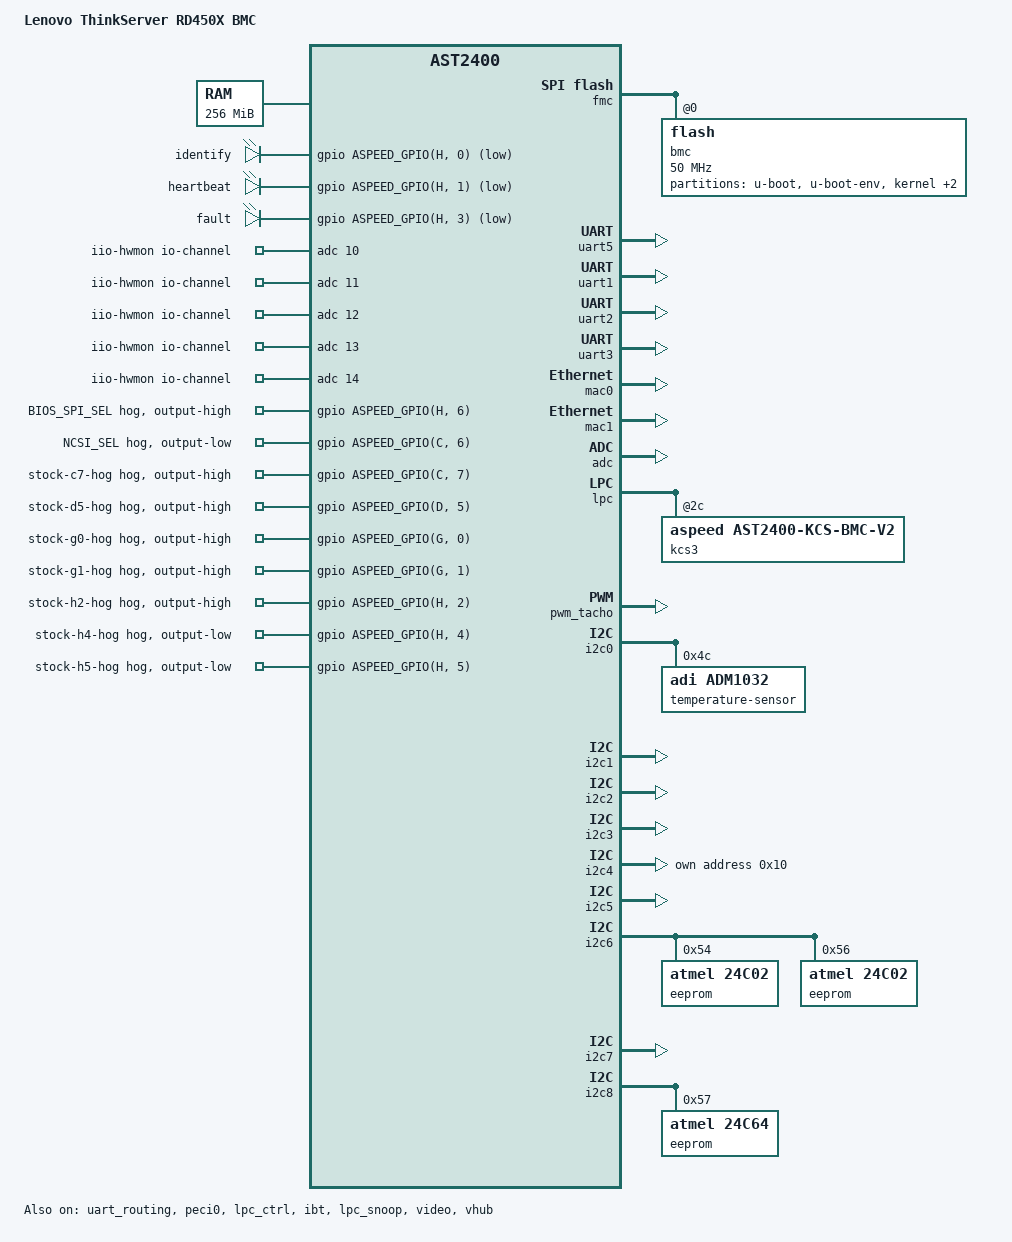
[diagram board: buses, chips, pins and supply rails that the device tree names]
// SPDX-License-Identifier: GPL-2.0+
/*
 * Lenovo ThinkServer RD450X BMC (ASPEED AST2400)
 *
 * Reverse engineered from the board's stock AMI MegaRAC firmware 3.24.4421
 * (libipmipdk / libipmipar, variant "ast2400evb_ami") and from the live
 * GPIO, PWM and ADC state of a running board. See recon/hardware-map.md.
 *
 * Items marked UNVERIFIED are assumptions still to be checked on hardware.
 */
/dts-v1/;

#include "aspeed-g4.dtsi"
#include <dt-bindings/gpio/aspeed-gpio.h>
#include <dt-bindings/i2c/i2c.h>

/ {
	model = "Lenovo ThinkServer RD450X BMC";
	compatible = "lenovo,rd450x-bmc", "aspeed,ast2400";

	aliases {
		serial2 = &uart3;
		serial4 = &uart5;
	};

	chosen {
		stdout-path = &uart5;
		bootargs = "console=ttyS4,115200 earlycon";
	};

	memory@40000000 {
		/* UNVERIFIED: 256 MB assumed; the stock kernel used mem=210M */
		reg = <0x40000000 0x10000000>;
	};

	reserved-memory {
		#address-cells = <1>;
		#size-cells = <1>;
		ranges;

		/*
		 * Capture buffers of the video engine (remote KVM). The host VGA
		 * memory (16 MB at the top of the 256 MB DRAM) is already left out
		 * by U-Boot, which reports 240 MB.
		 */
		video_engine_memory: jpegbuffer {
			size = <0x02000000>;	/* 32M */
			alignment = <0x01000000>;
			compatible = "shared-dma-pool";
			reusable;
		};
	};

	leds {
		compatible = "gpio-leds";

		identify {
			gpios = <&gpio ASPEED_GPIO(H, 0) GPIO_ACTIVE_LOW>;
		};

		/* Stock firmware blinks this one as a status/heartbeat LED */
		heartbeat {
			gpios = <&gpio ASPEED_GPIO(H, 1) GPIO_ACTIVE_LOW>;
		};

		fault {
			gpios = <&gpio ASPEED_GPIO(H, 3) GPIO_ACTIVE_LOW>;
		};
	};

	/* 3.3V standby, 5V aux, 3.3V, 5V, 12V (through resistor dividers) */
	/*
	 * hwmon numbers the inputs in1..in5 in the order listed here, and the
	 * entity-manager ADC "Index" values (0..4) follow that order, not the
	 * ADC channel numbers.
	 */
	iio-hwmon {
		compatible = "iio-hwmon";
		io-channels = <&adc 10>, <&adc 11>, <&adc 12>, <&adc 13>,
			      <&adc 14>;
	};
};

&fmc {
	status = "okay";

	flash@0 {
		status = "okay";
		m25p,fast-read;
		label = "bmc";
		spi-max-frequency = <50000000>;

		/*
		 * Like openbmc-flash-layout.dtsi, but with a larger kernel and
		 * read-only filesystem at the expense of the writable one: the
		 * stock 32 MB layout has no room for remote KVM. Must match
		 * FLASH_ROFS_OFFSET / FLASH_RWFS_OFFSET in the machine config.
		 */
		partitions {
			compatible = "fixed-partitions";
			#address-cells = <1>;
			#size-cells = <1>;

			u-boot@0 {
				reg = <0x0 0x60000>;
				label = "u-boot";
			};

			u-boot-env@60000 {
				reg = <0x60000 0x20000>;
				label = "u-boot-env";
			};

			kernel@80000 {
				reg = <0x80000 0x480000>;
				label = "kernel";
			};

			rofs@500000 {
				reg = <0x500000 0x1900000>;
				label = "rofs";
			};

			rwfs@1e00000 {
				reg = <0x1e00000 0x200000>;
				label = "rwfs";
			};
		};
	};
};

/* BMC debug console (stock: ttyS4 @ 38400) */
&uart5 {
	status = "okay";
};

/*
 * Host serial / SOL: the host owns UART1 over LPC, and the stock firmware
 * cross-connects UART1 and UART3 through the LPC UART routing register.
 */
/*
 * UART1 and UART2 are the host's COM1/COM2 (0x3f8/0x2f8 over LPC). The BMC
 * does not use them itself, but their clocks are gated unless the nodes are
 * enabled, and then the host's ports find a 16550 that never shifts a byte
 * out (seen on the board: host tx counter frozen, nothing reaches UART3).
 */
&uart1 {
	status = "okay";
};

&uart2 {
	status = "okay";
};

&uart3 {
	status = "okay";
};

&uart_routing {
	status = "okay";
};

/* Shared with the host's Intel NIC over NC-SI */
&mac0 {
	status = "okay";
	use-ncsi;
	pinctrl-names = "default";
	pinctrl-0 = <&pinctrl_rmii1_default>;
};

/* Dedicated management port with its own PHY. UNVERIFIED: RGMII assumed */
&mac1 {
	status = "okay";
	pinctrl-names = "default";
	pinctrl-0 = <&pinctrl_rgmii2_default &pinctrl_mdio2_default>;
};

&adc {
	status = "okay";
	pinctrl-names = "default";
	pinctrl-0 = <&pinctrl_adc10_default
		     &pinctrl_adc11_default
		     &pinctrl_adc12_default
		     &pinctrl_adc13_default
		     &pinctrl_adc14_default>;
};

/* UNVERIFIED: the stock firmware reads CPU temperatures through the ME */
&peci0 {
	status = "okay";
};

&lpc_ctrl {
	status = "okay";
};

/*
 * The stock firmware exposes KCS and BT to the host. aspeed-g4.dtsi has no
 * KCS nodes, so KCS3 is described here (same LPC registers as the AST2500).
 * The stock driver puts KCS3 at 0xca2/0xca3 and BT at 0xe4.
 */
&lpc {
	kcs3: kcs@2c {
		compatible = "aspeed,ast2400-kcs-bmc-v2";
		reg = <0x2c 0x1>, <0x38 0x1>, <0x44 0x1>;
		interrupts = <8>;
		clocks = <&syscon ASPEED_CLK_GATE_LCLK>;
		aspeed,lpc-io-reg = <0xca2>;
	};
};

&ibt {
	status = "okay";
};

&lpc_snoop {
	status = "okay";
	snoop-ports = <0x80>;
};

/*
 * Each fan has its own PWM output, numbered like its tach input.
 * PWM2/tach2 are not used on this board.
 */
/* Remote KVM: video capture of the host VGA output */
&video {
	status = "okay";
	memory-region = <&video_engine_memory>;
};

/* Remote KVM: virtual USB hub towards the host (keyboard, mouse, media) */
&vhub {
	status = "okay";
};

&pwm_tacho {
	status = "okay";
	pinctrl-names = "default";
	pinctrl-0 = <&pinctrl_pwm0_default
		     &pinctrl_pwm1_default
		     &pinctrl_pwm3_default
		     &pinctrl_pwm4_default
		     &pinctrl_pwm5_default
		     &pinctrl_pwm6_default>;

	/* CPU0_FAN */
	fan@0 {
		reg = <0x00>;
		aspeed,fan-tach-ch = /bits/ 8 <0x00>;
	};

	/* CPU1_FAN */
	fan@1 {
		reg = <0x01>;
		aspeed,fan-tach-ch = /bits/ 8 <0x01>;
	};

	/* SYS_FAN1 */
	fan@3 {
		reg = <0x03>;
		aspeed,fan-tach-ch = /bits/ 8 <0x03>;
	};

	/* SYS_FAN2 */
	fan@4 {
		reg = <0x04>;
		aspeed,fan-tach-ch = /bits/ 8 <0x04>;
	};

	/* SYS_FAN3 */
	fan@5 {
		reg = <0x05>;
		aspeed,fan-tach-ch = /bits/ 8 <0x05>;
	};

	/* SYS_FAN4 */
	fan@6 {
		reg = <0x06>;
		aspeed,fan-tach-ch = /bits/ 8 <0x06>;
	};
};

&gpio {
	/*
	 * Front-panel reset (D0 -> D1) and power (D2 -> D3) buttons: the stock
	 * firmware uses the SoC's hardware pass-through, but with the mainline
	 * pinctrl driver a pin claimed for pass-through cannot also be requested
	 * as a GPIO, and the BMC has to read the buttons and drive the outputs.
	 * So the pins are plain GPIOs and x86-power-control forwards the buttons
	 * in software (button-passthrough option).
	 */
	gpio-line-names =
	/*A0-A7*/	"", "", "", "ID_BUTTON_N", "", "", "", "",
	/*B0-B7*/	"", "", "FAN_EVENT_N", "", "", "", "", "",
	/*C0-C7*/	"", "", "", "", "", "", "NCSI_SEL", "",
	/*D0-D7*/	"RESET_BUTTON_N", "RESET_OUT_N", "POWER_BUTTON_N",
			"POWER_OUT_N", "", "", "", "",
	/*E0-E7*/	"", "", "", "", "", "", "", "",
	/*F0-F7*/	"", "", "", "", "", "PS_PWROK", "", "",
	/*G0-G7*/	"", "", "", "", "CPU_ERR2_N", "CPU_CATERR_N", "",
			"NCSI_CARD_DET",
	/*H0-H7*/	"", "", "", "", "", "", "BIOS_SPI_SEL", "",
	/*I0-I7*/	"", "", "", "", "", "", "", "",
	/*J0-J7*/	"", "", "", "", "", "", "", "",
	/*K0-K7*/	"", "", "", "", "", "", "", "",
	/*L0-L7*/	"", "", "", "", "", "", "", "",
	/*M0-M7*/	"", "", "", "", "", "", "", "",
	/*N0-N7*/	"", "", "", "", "", "", "", "",
	/*O0-O7*/	"", "", "", "", "", "", "", "",
	/*P0-P7*/	"", "", "CPU0_PROCHOT_N", "", "", "CPU1_PROCHOT_N", "",
			"MEM_EVENT_N",
	/*Q0-Q7*/	"", "", "", "", "", "", "PSU1_PRSNT_N", "PSU2_PRSNT_N";

	/* High = host owns its BIOS flash. Never leave this low. */
	bios-spi-sel-hog {
		gpio-hog;
		gpios = <ASPEED_GPIO(H, 6) GPIO_ACTIVE_HIGH>;
		output-high;
		line-name = "BIOS_SPI_SEL";
	};

	/* Keeps the NC-SI path on the onboard NIC, as found on the live board */
	ncsi-sel-hog {
		gpio-hog;
		gpios = <ASPEED_GPIO(C, 6) GPIO_ACTIVE_HIGH>;
		output-low;
		line-name = "NCSI_SEL";
	};

	/*
	 * Outputs of unknown purpose that the stock firmware drives at init.
	 * They are held at the levels read from the running stock firmware.
	 */
	stock-c7-hog {
		gpio-hog;
		gpios = <ASPEED_GPIO(C, 7) GPIO_ACTIVE_HIGH>;
		output-high;
	};

	stock-d5-hog {
		gpio-hog;
		gpios = <ASPEED_GPIO(D, 5) GPIO_ACTIVE_HIGH>;
		output-high;
	};

	stock-g0-hog {
		gpio-hog;
		gpios = <ASPEED_GPIO(G, 0) GPIO_ACTIVE_HIGH>;
		output-high;
	};

	stock-g1-hog {
		gpio-hog;
		gpios = <ASPEED_GPIO(G, 1) GPIO_ACTIVE_HIGH>;
		output-high;
	};

	stock-h2-hog {
		gpio-hog;
		gpios = <ASPEED_GPIO(H, 2) GPIO_ACTIVE_HIGH>;
		output-high;
	};

	stock-h4-hog {
		gpio-hog;
		gpios = <ASPEED_GPIO(H, 4) GPIO_ACTIVE_HIGH>;
		output-low;
	};

	stock-h5-hog {
		gpio-hog;
		gpios = <ASPEED_GPIO(H, 5) GPIO_ACTIVE_HIGH>;
		output-low;
	};
};

/* Primary IPMB (BMC at 0x20) and the inlet temperature sensor */
&i2c0 {
	status = "okay";

	/*
	 * Board temperature sensor, found by probing: an ADM1032-class chip
	 * (manufacturer ID 0x41) with a local and a remote channel. The stock
	 * configuration names an LM75 at 0x49, which does not answer.
	 */
	temperature-sensor@4c {
		compatible = "adi,adm1032";
		reg = <0x4c>;
	};
};

/* Mux at 0x76 towards an optional accelerator card */
&i2c1 {
	status = "okay";
};

/* CPU and DDR voltage regulators: IR3581 at 0x28/0x2e, IR3570B at 0x2a/0x30 */
&i2c2 {
	status = "okay";
};

&i2c3 {
	status = "okay";
};

/*
 * IPMB link to the Intel ME (Node Manager) at 0x2c. Verified on the board:
 * the ME answers on this bus only and polls the BMC at 0x20. CPU, DIMM and
 * PCH temperatures and the PSU telemetry are read through it.
 */
&i2c4 {
	status = "okay";

	ipmb@10 {
		compatible = "ipmb-dev";
		reg = <(0x10 | I2C_OWN_SLAVE_ADDRESS)>;
		i2c-protocol;
	};
};

&i2c5 {
	status = "okay";
};

/*
 * Front/rear backplane: controllers at 0x30/0x38 and FRU EEPROMs that the
 * stock firmware addresses with one offset byte. Their real capacity is
 * unknown, so they are read-only.
 */
&i2c6 {
	status = "okay";

	eeprom@54 {
		compatible = "atmel,24c02";
		reg = <0x54>;
		read-only;
	};

	eeprom@56 {
		compatible = "atmel,24c02";
		reg = <0x56>;
		read-only;
	};
};

&i2c7 {
	status = "okay";
};

/* Mainboard FRU EEPROM (two offset bytes, 32-byte pages in the stock code) */
&i2c8 {
	status = "okay";

	eeprom@57 {
		compatible = "atmel,24c64";
		reg = <0x57>;
		pagesize = <32>;
		read-only;
	};
};
